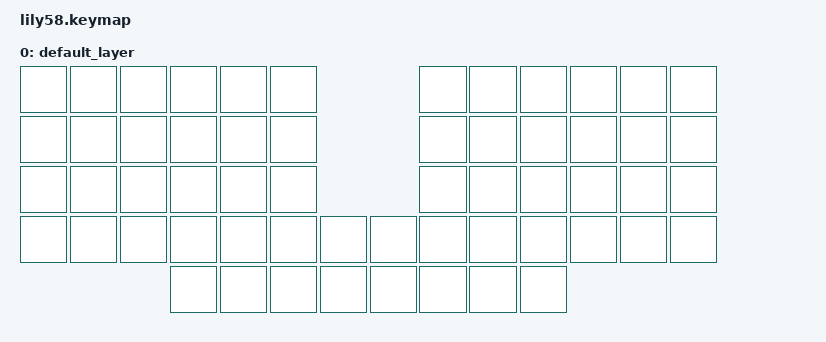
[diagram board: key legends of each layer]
/*
 * Copyright (c) 2020 The ZMK Contributors
 *
 * SPDX-License-Identifier: MIT
 */

#include <behaviors.dtsi>
#include <dt-bindings/zmk/bt.h>
#include <dt-bindings/zmk/keys.h>
#include <dt-bindings/zmk/outputs.h>

// CONFIG
#define COMBO_TIMEOUT 70
#define COMBO_LAYERS 0
#define STICKY_TIMEOUT 500

// LEFT SIDE
#define TLI 28 // TOP
#define TLM 27 // TOP
#define TLR 26 // TOP
#define TLP 25 // TOP
#define BLI 40 // BOTTOM
#define BLM 39 // BOTTOM
#define BLR 38 // BOTTOM
#define BLP 37 // BOTTOM
#define LOT 53 // O-THUMB
#define LIT 52 // I-THUMB

// RIGHT SIDE
#define TRI 31 // TOP
#define TRM 32 // TOP
#define TRR 33 // TOP
#define TRP 34 // TOP
#define BRI 45 // BOTTOM
#define BRM 46 // BOTTOM
#define BRR 47 // BOTTOM
#define BRP 48 // BOTTOM
#define ROT 54 // O-THUMB
#define RIT 55 // I-THUMB

&sk {
    release-after-ms = <STICKY_TIMEOUT>;
    quick-release;
};

/ {
  combos {
    compatible = "zmk,combos";
    #include "taipo.dtsi"
  };

  keymap {
    compatible = "zmk,keymap";

    default_layer {
      bindings = <
        &none            &none            &none            &none             &none            &none                                              &none            &none            &none            &none            &none            &none
        &none            &none            &none            &none             &none            &none                                              &none            &none            &none            &none            &none            &none
        &none            &none            &none            &none             &none            &none                                              &none            &none            &none            &none            &none            &none
        &none            &none            &none            &none             &none            &none            &none            &none            &none            &none            &none            &none            &none            &none
                                                           &none             &none            &none            &none            &none            &none            &none            &none
      >;
    };
  };
};
